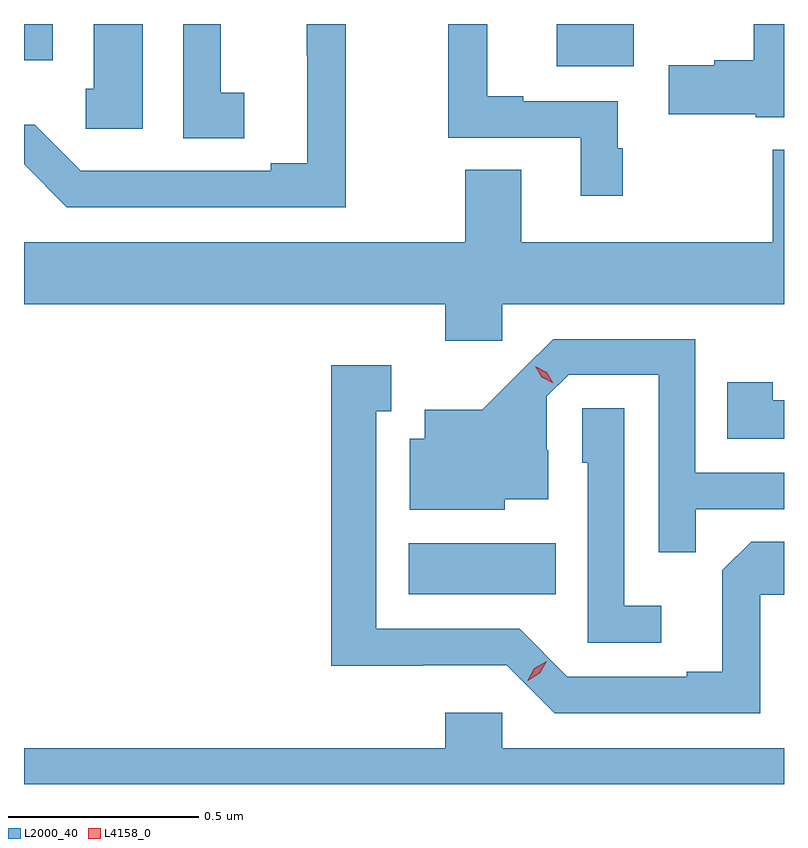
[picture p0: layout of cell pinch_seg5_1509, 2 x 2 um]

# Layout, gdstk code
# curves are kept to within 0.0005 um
import gdstk
lib = gdstk.Library(unit=1e-6, precision=1e-09)
def R(c, l, rs):  # rectangles x0, y0, x1, y1
    for r in rs: c.add(gdstk.rectangle(r[:2], r[2:], *l))
def P(c, l, *ps):  # polygons
    for p in ps: c.add(gdstk.Polygon(p, *l))
L2000_40 = (2000, 40)
L4158_0 = (4158, 0)

pinch_seg5_1509 = lib.new_cell('pinch_seg5_1509')
R(pinch_seg5_1509, L2000_40, [(114.725,891.962,115.112,892.096), (115.115,893.351,115.318,893.462), (113.713,893.367,113.788,893.462)])
P(pinch_seg5_1509, L2000_40, [(115.288,893.135),(115.276,893.135),(115.276,893.259),(115.027,893.259),(115.027,893.272),(114.932,893.272),(114.932,893.462),(114.829,893.462),(114.829,893.163),(115.178,893.163),(115.178,893.01),(115.288,893.01)],
  [(115.713,893.462),(115.634,893.462),(115.634,893.366),(115.53,893.366),(115.53,893.353),(115.41,893.353),(115.41,893.224),(115.638,893.224),(115.638,893.216),(115.713,893.216)],
  [(114.56,893.462),(114.457,893.462),(114.457,893.379),(114.458,893.379),(114.458,893.096),(114.362,893.096),(114.362,893.076),(113.862,893.076),(113.741,893.197),(113.713,893.197),(113.713,893.093),(113.826,892.98),(114.56,892.98)],
  [(114.025,893.462),(113.897,893.462),(113.897,893.292),(113.875,893.292),(113.875,893.187),(114.025,893.187)],
  [(114.292,893.281),(114.231,893.281),(114.231,893.462),(114.132,893.462),(114.132,893.161),(114.292,893.161)],
  [(114.972,892.724),(115.713,892.724),(115.713,893.131),(115.684,893.131),(115.684,892.888),(115.021,892.888),(115.021,893.078),(114.874,893.078),(114.874,892.888),(113.713,892.888),(113.713,892.724),(114.821,892.724),(114.821,892.629),(114.972,892.629)],
  [(115.481,892.185),(115.713,892.185),(115.713,892.281),(115.479,892.281),(115.479,892.632),(115.106,892.632),(114.919,892.447),(114.767,892.447),(114.767,892.371),(114.728,892.371),(114.728,892.184),(114.978,892.184),(114.978,892.211),(115.093,892.211),(115.093,892.34),(115.089,892.34),(115.089,892.482),(115.146,892.539),(115.383,892.539),(115.383,892.072),(115.481,892.072)],
  [(115.65,891.96),(115.713,891.96),(115.713,892.1),(115.627,892.1),(115.551,892.024),(115.551,891.757),(115.457,891.757),(115.457,891.744),(115.143,891.744),(115.017,891.87),(114.64,891.87),(114.64,892.443),(114.679,892.443),(114.679,892.564),(114.522,892.564),(114.522,891.773),(114.762,891.773),(114.762,891.774),(114.984,891.774),(115.11,891.648),(115.65,891.648)],
  [(115.713,892.472),(115.683,892.472),(115.683,892.519),(115.564,892.519),(115.564,892.371),(115.713,892.371)],
  [(115.39,891.931),(115.293,891.931),(115.293,892.451),(115.182,892.451),(115.182,892.308),(115.197,892.308),(115.197,891.834),(115.39,891.834)],
  [(115.713,891.556),(114.972,891.556),(114.972,891.649),(114.821,891.649),(114.821,891.556),(113.713,891.556),(113.713,891.462),(115.713,891.462)])
P(pinch_seg5_1509, L4158_0, [(115.106,892.516),(115.076,892.532),(115.059,892.561),(115.059,892.561),(115.059,892.561),(115.089,892.546),(115.106,892.517),(115.106,892.516)],
  [(115.038,891.734),(115.038,891.735),(115.056,891.767),(115.088,891.785),(115.088,891.785),(115.088,891.785),(115.07,891.753),(115.039,891.734)])

lib.write_gds('pinch_seg5_1509.gds')
